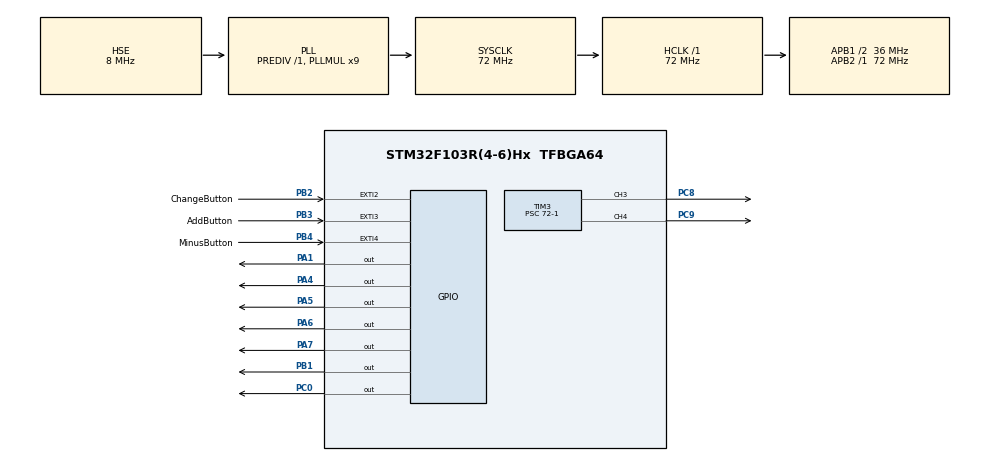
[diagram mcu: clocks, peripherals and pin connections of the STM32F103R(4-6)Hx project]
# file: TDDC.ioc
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Mcu.Family=STM32F1
Mcu.Name=STM32F103R(4-6)Hx
Mcu.Package=TFBGA64
NVIC.EXTI2_IRQn=true\:0\:0\:false\:false\:true\:true\:true\:true
NVIC.EXTI3_IRQn=true\:0\:0\:false\:false\:true\:true\:true\:true
NVIC.EXTI4_IRQn=true\:0\:0\:false\:false\:true\:true\:true\:true
NVIC.PriorityGroup=NVIC_PRIORITYGROUP_4
NVIC.TIM3_IRQn=true\:0\:0\:false\:false\:true\:true\:true\:true
PA1.GPIO_ModeDefaultOutputPP=GPIO_MODE_OUTPUT_OD
PA1.GPIO_PuPd=GPIO_PULLUP
PA1.GPIO_Speed=GPIO_SPEED_FREQ_HIGH
PA1.Signal=GPIO_Output
PA13.Mode=Serial_Wire
PA13.Signal=SYS_JTMS-SWDIO
PA14.Mode=Serial_Wire
PA14.Signal=SYS_JTCK-SWCLK
PA4.GPIO_PuPd=GPIO_NOPULL
PA4.GPIO_Speed=GPIO_SPEED_FREQ_HIGH
PA4.PinState=GPIO_PIN_RESET
PA4.Signal=GPIO_Output
PA5.GPIO_Speed=GPIO_SPEED_FREQ_HIGH
PA5.Signal=GPIO_Output
PA6.GPIO_Speed=GPIO_SPEED_FREQ_HIGH
PA6.Signal=GPIO_Output
PA7.GPIO_Speed=GPIO_SPEED_FREQ_MEDIUM
PA7.Signal=GPIO_Output
PB1.GPIO_Speed=GPIO_SPEED_FREQ_HIGH
PB1.Signal=GPIO_Output
PB2.GPIO_Label=ChangeButton
PB2.GPIO_ModeDefaultEXTI=GPIO_MODE_IT_FALLING
PB2.GPIO_PuPd=GPIO_PULLUP
PB2.Signal=GPXTI2
PB3.GPIO_Label=AddButton
PB3.GPIO_ModeDefaultEXTI=GPIO_MODE_IT_FALLING
PB3.GPIO_PuPd=GPIO_PULLUP
PB3.Signal=GPXTI3
PB4.GPIO_Label=MinusButton
PB4.GPIO_ModeDefaultEXTI=GPIO_MODE_IT_FALLING
PB4.GPIO_PuPd=GPIO_PULLUP
PB4.Signal=GPXTI4
PC0.GPIO_PuPd=GPIO_PULLUP
PC0.GPIO_Speed=GPIO_SPEED_FREQ_HIGH
PC0.PinState=GPIO_PIN_SET
PC0.Signal=GPIO_Output
PC14-OSC32_IN.Mode=LSE-External-Oscillator
PC14-OSC32_IN.Signal=RCC_OSC32_IN
PC15-OSC32_OUT.Mode=LSE-External-Oscillator
PC15-OSC32_OUT.Signal=RCC_OSC32_OUT
PC7.Signal=S_TIM3_CH2
PC8.Signal=S_TIM3_CH3
PC9.Signal=S_TIM3_CH4
PD0-OSC_IN.Mode=HSE-External-Oscillator
PD0-OSC_IN.Signal=RCC_OSC_IN
PD1-OSC_OUT.Mode=HSE-External-Oscillator
PD1-OSC_OUT.Signal=RCC_OSC_OUT
ProjectManager.HeapSize=0x200
ProjectManager.StackSize=0x400
ProjectManager.TargetToolchain=CMake
RCC.AHBFreq_Value=72000000
RCC.APB1CLKDivider=RCC_HCLK_DIV2
RCC.APB1Freq_Value=36000000
RCC.APB1TimFreq_Value=72000000
RCC.APB2Freq_Value=72000000
RCC.APB2TimFreq_Value=72000000
RCC.HCLKFreq_Value=72000000
RCC.PLLMUL=RCC_PLL_MUL9
RCC.PLLSourceVirtual=RCC_PLLSOURCE_HSE
RCC.SYSCLKFreq_VALUE=72000000
RCC.SYSCLKSource=RCC_SYSCLKSOURCE_PLLCLK
RCC.USBFreq_Value=72000000
SH.S_TIM3_CH2.0=TIM3_CH2
SH.S_TIM3_CH3.0=TIM3_CH3,PWM Generation3 CH3
SH.S_TIM3_CH4.0=TIM3_CH4,PWM Generation4 CH4
TIM3.Channel-PWM\ Generation3\ CH3=TIM_CHANNEL_3
TIM3.Channel-PWM\ Generation4\ CH4=TIM_CHANNEL_4
TIM3.Period=100-1
TIM3.Prescaler=72-1
VP_TIM3_VS_ClockSourceINT.Mode=Internal
board=custom

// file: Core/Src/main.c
/* USER CODE BEGIN Header */
/**
  ******************************************************************************
  * @file           : main.c
  * @brief          : Main program body
  ******************************************************************************
  * @attention
  *
  * Copyright (c) 2026 STMicroelectronics.
  * All rights reserved.
  *
  * This software is licensed under terms that can be found in the LICENSE file
  * in the root directory of this software component.
  * If no LICENSE file comes with this software, it is provided AS-IS.
  *
  ******************************************************************************
  */
/* USER CODE END Header */
#include "main.h"
#include "tim.h"
#include "gpio.h"

/* USER CODE BEGIN Includes */
#include "dht11.h"
#include "HDG12864F1.h"
#include "at24cxx.h"
#include "stm32f1xx_hal_tim.h"
#include <stdint.h>
/* USER CODE END Includes */

/* USER CODE BEGIN PD */
#define ADDRTM 0
#define ADDRTL 1
#define ADDRHM 2
#define ADDRHL 3
/* USER CODE END PD */

/* USER CODE BEGIN PV */
/* 要写入到 24C02 的字符串数据 */
volatile uint8_t ui_mode = 0;
volatile uint8_t ui_dirty = 2;
volatile uint8_t ee_save = 0;
uint8_t temperature = 0;
uint8_t humidity = 0;
volatile uint8_t temmost = 40;
volatile uint8_t temleast = 0;
volatile uint8_t hummost = 70;
volatile uint8_t humleast = 0;
/* USER CODE END PV */

void SystemClock_Config(void);
/* USER CODE BEGIN PFP */
void HAL_Delay_us(uint32_t nus);
/* USER CODE END PFP */

int main(void)
{

  /* MCU Configuration--------------------------------------------------------*/

  /* Reset of all peripherals, Initializes the Flash interface and the Systick. */
  HAL_Init();

  /* Configure the system clock */
  SystemClock_Config();

  /* Initialize all configured peripherals */
  MX_GPIO_Init();
  MX_TIM3_Init();
  /* USER CODE BEGIN 2 */
  dht11_init();
  Delay_ms(10);
  Lcd_GPIO_Configuration();
  HDG12864F1_Init();          //OLED功能初始化
  HDG12864F1_Clear();         //清屏
  HAL_Delay_us(10);
  at24cxx_init();
  HAL_TIM_PWM_Start(&htim3, TIM_CHANNEL_3);
  __HAL_TIM_SET_COMPARE(&htim3, TIM_CHANNEL_3, 0);
  HAL_TIM_PWM_Start(&htim3, TIM_CHANNEL_4);
  __HAL_TIM_SET_COMPARE(&htim3, TIM_CHANNEL_4, 0);
                                   /* 初始化24CXX */
  if (at24cxx_read_one_byte(ADDRTM) == 0xFF)
  {
    at24cxx_write_one_byte(ADDRTM, temmost);
    at24cxx_write_one_byte(ADDRTL, temleast);
    at24cxx_write_one_byte(ADDRHM, hummost);
    at24cxx_write_one_byte(ADDRHL, humleast);
  }
  else
  {
    temmost = at24cxx_read_one_byte(ADDRTM);
    temleast = at24cxx_read_one_byte(ADDRTL);
    hummost = at24cxx_read_one_byte(ADDRHM);
    humleast = at24cxx_read_one_byte(ADDRHL);
  }
  dht11_read_data(&temperature, &humidity);

  ui_dirty = 2;
  /* USER CODE END 2 */

  /* Infinite loop */
  /* USER CODE BEGIN WHILE */
  while (1)
  {
	uint8_t d = ui_dirty;
	ui_dirty = 0;

	dht11_read_data(&temperature, &humidity);
	HDG12864F1_WriteEnglishChar(Number0_9[temperature/10], NUMBER_COLUMN_5, 0);
	HDG12864F1_WriteEnglishChar(Number0_9[temperature%10], NUMBER_COLUMN_6, 0);

	HDG12864F1_WriteEnglishChar(Number0_9[humidity/10], NUMBER_COLUMN_5, 2);
	HDG12864F1_WriteEnglishChar(Number0_9[humidity%10], NUMBER_COLUMN_6, 2);
	if (ee_save) {
		ee_save = 0;
		at24cxx_write_one_byte(ADDRTM, temmost);
		at24cxx_write_one_byte(ADDRTL, temleast);
		at24cxx_write_one_byte(ADDRHM, hummost);
		at24cxx_write_one_byte(ADDRHL, humleast);
	}

	if (d == 2) {
		HDG12864F1_Clear();
		DrawStatic(ui_mode);
	}
	if (d != 0) {
		DrawValue(ui_mode);
	}

	if (temperature >= temmost) {
		__HAL_TIM_SET_COMPARE(&htim3, TIM_CHANNEL_3, 100);
		__HAL_TIM_SET_COMPARE(&htim3, TIM_CHANNEL_4, 0);
	}
	else {
		__HAL_TIM_SET_COMPARE(&htim3, TIM_CHANNEL_3, 0);
		__HAL_TIM_SET_COMPARE(&htim3, TIM_CHANNEL_4, 0);
	}
	if (temperature <= temleast) {
		HAL_GPIO_WritePin(GPIOC, GPIO_PIN_0, GPIO_PIN_SET);
	}
	else {
		HAL_GPIO_WritePin(GPIOC, GPIO_PIN_0, GPIO_PIN_RESET);
	}
	Delay_ms(200);
    /* USER CODE END WHILE */

  }
}

void SystemClock_Config(void)
{
  RCC_OscInitTypeDef RCC_OscInitStruct = {0};
  RCC_ClkInitTypeDef RCC_ClkInitStruct = {0};

  /** Initializes the RCC Oscillators according to the specified parameters
  * in the RCC_OscInitTypeDef structure.
  */
  RCC_OscInitStruct.OscillatorType = RCC_OSCILLATORTYPE_HSE;
  RCC_OscInitStruct.HSEState = RCC_HSE_ON;
  RCC_OscInitStruct.HSEPredivValue = RCC_HSE_PREDIV_DIV1;
  RCC_OscInitStruct.HSIState = RCC_HSI_ON;
  RCC_OscInitStruct.PLL.PLLState = RCC_PLL_ON;
  RCC_OscInitStruct.PLL.PLLSource = RCC_PLLSOURCE_HSE;
  RCC_OscInitStruct.PLL.PLLMUL = RCC_PLL_MUL9;
  if (HAL_RCC_OscConfig(&RCC_OscInitStruct) != HAL_OK)
  {
    Error_Handler();
  }

  /** Initializes the CPU, AHB and APB buses clocks
  */
  RCC_ClkInitStruct.ClockType = RCC_CLOCKTYPE_HCLK|RCC_CLOCKTYPE_SYSCLK
                              |RCC_CLOCKTYPE_PCLK1|RCC_CLOCKTYPE_PCLK2;
  RCC_ClkInitStruct.SYSCLKSource = RCC_SYSCLKSOURCE_PLLCLK;
  RCC_ClkInitStruct.AHBCLKDivider = RCC_SYSCLK_DIV1;
  RCC_ClkInitStruct.APB1CLKDivider = RCC_HCLK_DIV2;
  RCC_ClkInitStruct.APB2CLKDivider = RCC_HCLK_DIV1;

  if (HAL_RCC_ClockConfig(&RCC_ClkInitStruct, FLASH_LATENCY_2) != HAL_OK)
  {
    Error_Handler();
  }
}

/* USER CODE BEGIN 4 */
void DrawStatic(uint8_t mode) {
  HDG12864F1_WriteChineseCharUpper(cCharWenUpper, CHINESE_COLUMN_0, 0);
  HDG12864F1_WriteChineseCharLower(cCharWenLower, CHINESE_COLUMN_0, 0);

  HDG12864F1_WriteChineseCharUpper(cCharDuUpper, CHINESE_COLUMN_1, 0);
  HDG12864F1_WriteChineseCharLower(cCharDuLower, CHINESE_COLUMN_1, 0);

  HDG12864F1_WriteEnglishChar(Char_MaoHao, NUMBER_COLUMN_4, 0);
  HDG12864F1_WriteChineseCharUpper(cCharSheShiDuUpper, CHINESE_COLUMN_4, 0);
  HDG12864F1_WriteChineseCharLower(cCharSheShiDuLower, CHINESE_COLUMN_4, 0);

  HDG12864F1_WriteChineseCharUpper(cCharShiUpper, CHINESE_COLUMN_0, 2);
  HDG12864F1_WriteChineseCharLower(cCharShiLower, CHINESE_COLUMN_0, 2);

  HDG12864F1_WriteChineseCharUpper(cCharDuUpper, CHINESE_COLUMN_1, 2);
  HDG12864F1_WriteChineseCharLower(cCharDuLower, CHINESE_COLUMN_1, 2);

  HDG12864F1_WriteEnglishChar(Char_MaoHao, NUMBER_COLUMN_4, 2);
  HDG12864F1_WriteEnglishChar(Char_BaiFenHao, NUMBER_COLUMN_8, 2);
  HDG12864F1_WriteEnglishChar(Char_R, NUMBER_COLUMN_9, 2);
  HDG12864F1_WriteEnglishChar(Char_H, NUMBER_COLUMN_A, 2);

  if (mode == 0) {
    HDG12864F1_WriteChineseCharUpper(cCharXianUpper, CHINESE_COLUMN_0, 6);
    HDG12864F1_WriteChineseCharLower(cCharXianLower, CHINESE_COLUMN_0, 6);
    HDG12864F1_WriteChineseCharUpper(cCharShi2Upper, CHINESE_COLUMN_1, 6);
    HDG12864F1_WriteChineseCharLower(cCharShi2Lower, CHINESE_COLUMN_1, 6);
    HDG12864F1_WriteChineseCharUpper(cCharMoUpper, CHINESE_COLUMN_2, 6);
    HDG12864F1_WriteChineseCharLower(cCharMoLower, CHINESE_COLUMN_2, 6);
    HDG12864F1_WriteChineseCharUpper(cCharShi3Upper, CHINESE_COLUMN_3, 6);
    HDG12864F1_WriteChineseCharLower(cCharShi3Lower, CHINESE_COLUMN_3, 6);
  }
  if (mode == 1) {
    HDG12864F1_WriteChineseCharUpper(cCharWenUpper, CHINESE_COLUMN_0, 6);
    HDG12864F1_WriteChineseCharLower(cCharWenLower, CHINESE_COLUMN_0, 6);
    HDG12864F1_WriteChineseCharUpper(cCharDuUpper, CHINESE_COLUMN_1, 6);
    HDG12864F1_WriteChineseCharLower(cCharDuLower, CHINESE_COLUMN_1, 6);
    HDG12864F1_WriteChineseCharUpper(cCharShangUpper, CHINESE_COLUMN_2, 6);
    HDG12864F1_WriteChineseCharLower(cCharShangLower, CHINESE_COLUMN_2, 6);
    HDG12864F1_WriteChineseCharUpper(cCharXian2Upper, CHINESE_COLUMN_3, 6);
    HDG12864F1_WriteChineseCharLower(cCharXian2Lower, CHINESE_COLUMN_3, 6);
  }
  if (mode == 2) {
    HDG12864F1_WriteChineseCharUpper(cCharWenUpper, CHINESE_COLUMN_0, 6);
    HDG12864F1_WriteChineseCharLower(cCharWenLower, CHINESE_COLUMN_0, 6);
    HDG12864F1_WriteChineseCharUpper(cCharDuUpper, CHINESE_COLUMN_1, 6);
    HDG12864F1_WriteChineseCharLower(cCharDuLower, CHINESE_COLUMN_1, 6);
    HDG12864F1_WriteChineseCharUpper(cCharXiaUpper, CHINESE_COLUMN_2, 6);
    HDG12864F1_WriteChineseCharLower(cCharXiaLower, CHINESE_COLUMN_2, 6);
    HDG12864F1_WriteChineseCharUpper(cCharXian2Upper, CHINESE_COLUMN_3, 6);
    HDG12864F1_WriteChineseCharLower(cCharXian2Lower, CHINESE_COLUMN_3, 6);
  }
  if (mode == 3) {
    HDG12864F1_WriteChineseCharUpper(cCharShiUpper, CHINESE_COLUMN_0, 6);
    HDG12864F1_WriteChineseCharLower(cCharShiLower, CHINESE_COLUMN_0, 6);
    HDG12864F1_WriteChineseCharUpper(cCharDuUpper, CHINESE_COLUMN_1, 6);
    HDG12864F1_WriteChineseCharLower(cCharDuLower, CHINESE_COLUMN_1, 6);
    HDG12864F1_WriteChineseCharUpper(cCharShangUpper, CHINESE_COLUMN_2, 6);
    HDG12864F1_WriteChineseCharLower(cCharShangLower, CHINESE_COLUMN_2, 6);
    HDG12864F1_WriteChineseCharUpper(cCharXian2Upper, CHINESE_COLUMN_3, 6);
    HDG12864F1_WriteChineseCharLower(cCharXian2Lower, CHINESE_COLUMN_3, 6);
  }
  if (mode == 4) {
    HDG12864F1_WriteChineseCharUpper(cCharShiUpper, CHINESE_COLUMN_0, 6);
    HDG12864F1_WriteChineseCharLower(cCharShiLower, CHINESE_COLUMN_0, 6);
    HDG12864F1_WriteChineseCharUpper(cCharDuUpper, CHINESE_COLUMN_1, 6);
    HDG12864F1_WriteChineseCharLower(cCharDuLower, CHINESE_COLUMN_1, 6);
    HDG12864F1_WriteChineseCharUpper(cCharXiaUpper, CHINESE_COLUMN_2, 6);
    HDG12864F1_WriteChineseCharLower(cCharXiaLower, CHINESE_COLUMN_2, 6);
    HDG12864F1_WriteChineseCharUpper(cCharXian2Upper, CHINESE_COLUMN_3, 6);
    HDG12864F1_WriteChineseCharLower(cCharXian2Lower, CHINESE_COLUMN_3, 6);
  }
}

void DrawValue(uint8_t mode) {
  HDG12864F1_WriteEnglishChar(Number0_9[temperature/10], NUMBER_COLUMN_5, 0);
  HDG12864F1_WriteEnglishChar(Number0_9[temperature%10], NUMBER_COLUMN_6, 0);
  HDG12864F1_WriteEnglishChar(Number0_9[humidity/10], NUMBER_COLUMN_5, 2);
  HDG12864F1_WriteEnglishChar(Number0_9[humidity%10], NUMBER_COLUMN_6, 2);

  if (mode == 1) {
    HDG12864F1_WriteEnglishChar(Number0_9[temmost/10], NUMBER_COLUMN_9, 6);
    HDG12864F1_WriteEnglishChar(Number0_9[temmost%10], NUMBER_COLUMN_A, 6);
  }
  if (mode == 2) {
    HDG12864F1_WriteEnglishChar(Number0_9[temleast/10], NUMBER_COLUMN_9, 6);
    HDG12864F1_WriteEnglishChar(Number0_9[temleast%10], NUMBER_COLUMN_A, 6);
  }
  if (mode == 3) {
    HDG12864F1_WriteEnglishChar(Number0_9[hummost/10], NUMBER_COLUMN_9, 6);
    HDG12864F1_WriteEnglishChar(Number0_9[hummost%10], NUMBER_COLUMN_A, 6);
  }
  if (mode == 4) {
    HDG12864F1_WriteEnglishChar(Number0_9[humleast/10], NUMBER_COLUMN_9, 6);
    HDG12864F1_WriteEnglishChar(Number0_9[humleast%10], NUMBER_COLUMN_A, 6);
  }
}
void HAL_Delay_us(uint32_t nus)
{
    const uint32_t ticks = (SystemCoreClock / 1000000U) * nus;
    const uint32_t reload = SysTick->LOAD;
    uint32_t previous = SysTick->VAL;
    uint32_t elapsed = 0U;

    while (elapsed < ticks)
    {
        const uint32_t current = SysTick->VAL;
        if (previous >= current)
        {
            elapsed += previous - current;
        }
        else
        {
            elapsed += previous + (reload + 1U - current);
        }
        previous = current;
    }
}

void Delay_ms(uint16_t ms) {
    while(ms--) {
        HAL_Delay(1);
    }
}

void HAL_GPIO_EXTI_Callback(uint16_t GPIO_Pin)
{
	if (GPIO_Pin == ChangeButton_Pin) {
		ui_mode = (ui_mode + 1) % 5;
		ui_dirty = 2;
		return;
	}

	if (ui_mode == 0) return;

	if (GPIO_Pin == AddButton_Pin) {
		if (ui_mode == 1)      { if (temmost < 99) temmost++; }
		else if (ui_mode == 2) { if (temleast < 99) temleast++; }
		else if (ui_mode == 3) { if (hummost < 99) hummost++; }
		else if (ui_mode == 4) { if (humleast < 99) humleast++; }
		else return;
	}
	else if (GPIO_Pin == MinusButton_Pin) {
		if (ui_mode == 1)      { if (temmost > 0) temmost--; }
		else if (ui_mode == 2) { if (temleast > 0) temleast--; }
		else if (ui_mode == 3) { if (hummost > 0) hummost--; }
		else if (ui_mode == 4) { if (humleast > 0) humleast--; }
		else return;
	}
	else return;

	ui_dirty = 1;
	ee_save = 1;

}

/* USER CODE END 4 */

void Error_Handler(void)
{
  __disable_irq();
  while (1)
  {
  }
}
